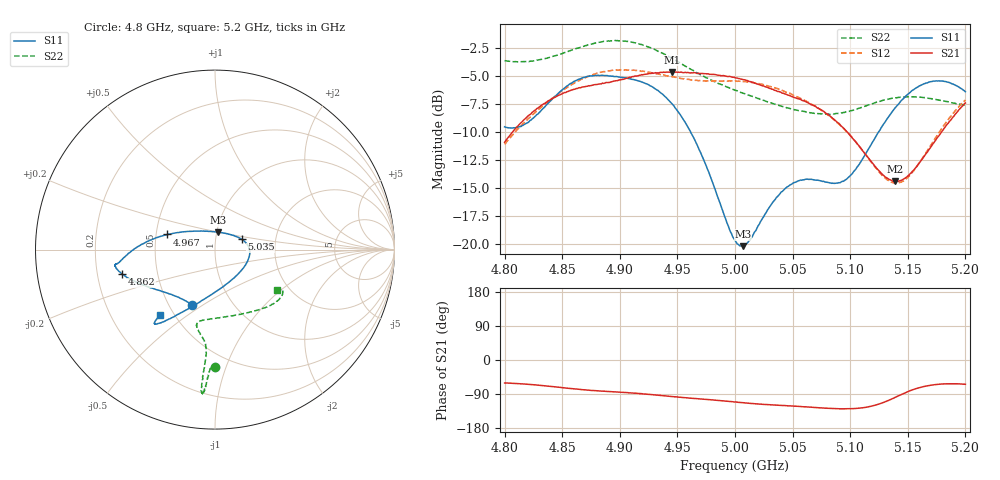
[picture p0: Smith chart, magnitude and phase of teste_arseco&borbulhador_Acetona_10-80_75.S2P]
! Network Analyzer HP8722D
! Hewlett-Packard
! Data name: Linha & Wilkinson
! Saver's name: Rodrigo Anjos
! Comments: Teste da utilização de aquisição
! continua pelo VNA HP8722D
! Time and date: 17/4/2025 14:59
!  Frequency  S11  S21  S12  S22
# HZ  S  MA R 50
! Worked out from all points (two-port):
!   401 points, 4.8 GHz to 5.2 GHz, reference 50 ohm
!   highest |S21| = -4.67 dB at 4.945 GHz (marker M1); lowest = -14.4 dB at 5.139 GHz (marker M2)
!   |S21| within 3 dB of the highest: 4.832 GHz to 5.069 GHz (237.4 MHz wide, 4.79 % of centre); 5.197737 GHz to end of sweep
!   lowest |S11| = -20.2 dB at 5.007 GHz (marker M3), VSWR 1.22, Z = 50.8 + j9.92 ohm
!   |S11| at or under -10 dB: 4.961 GHz to 5.125 GHz (163.2 MHz wide, 3.24 % of centre)
!   |S22| runs from -8.4 to -1.9 dB; largest |S21 - S12| = 0.87
!   S11 on the Smith chart (normalised r, x): 4.8 GHz: 0.65, -0.45; 4.862 GHz: 0.31, -0.12; 4.967 GHz: 0.57, +0.10; 5.035 GHz: 1.34, +0.16; 5.2 GHz: 0.42, -0.40
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4.8e9  0.3332 -113.0  0.2843 -60.7  0.2787 -174.9  0.656 -89.9
4.819e9  0.3459 -132.8  0.3663 -63.8  0.3553 -173.3  0.6497 -91.4
4.862e9  0.5347 -165.2  0.4925 -76.5  0.5273 -176.4  0.742 -93.6
4.867e9  0.5488 -167.2  0.4999 -78.2  0.5417 -177.5  0.7547 -93.8
4.9e9  0.5539 -171.8  0.5388 -84.9  0.5962 176.0  0.8032 -95.0
4.934e9  0.4789 -177.7  0.5781 -93.3  0.5719 172.0  0.7177 -95.5
4.945e9  0.4235 177.2  0.5843 -96.4  0.5571 172.1  0.6717 -95.3
4.967e9  0.2779 162.4  0.5752 -102.0  0.536 174.0  0.5788 -94.8
5e9  0.1041 103.7  0.5506 -110.7  0.5324 176.4  0.4847 -99.0
5.007e9  0.09825 79.9  0.5399 -112.5  0.5291 176.4  0.4701 -100.6
5.013e9  0.1046 60.9  0.5294 -114.4  0.5262 176.1  0.4579 -101.9
5.035e9  0.1588 21.3  0.4834 -119.0  0.4954 175.0  0.4194 -103.4
5.05e9  0.1865 6.0  0.4528 -121.5  0.462 174.3  0.3997 -99.7
5.067e9  0.1944 -12.1  0.4175 -124.8  0.4181 173.8  0.3836 -91.2
5.086e9  0.1868 -42.1  0.3599 -128.2  0.358 173.8  0.3795 -76.7
5.097e9  0.1952 -64.9  0.3172 -129.0  0.3156 174.5  0.3885 -67.6
5.134e9  0.3735 -115.6  0.1942 -105.6  0.1907 -158.5  0.4438 -42.9
5.139e9  0.4044 -118.8  0.1906 -98.6  0.1876 -150.7  0.4485 -40.7
5.151e9  0.4689 -123.8  0.2036 -82.4  0.2013 -131.9  0.4534 -36.2
5.17e9  0.529 -128.3  0.2709 -66.5  0.2764 -112.7  0.4448 -31.8
5.184e9  0.5271 -129.7  0.3415 -62.9  0.3532 -107.1  0.4315 -30.8
5.2e9  0.4771 -130.1  0.4252 -64.1  0.4383 -106.1  0.4145 -33.1
